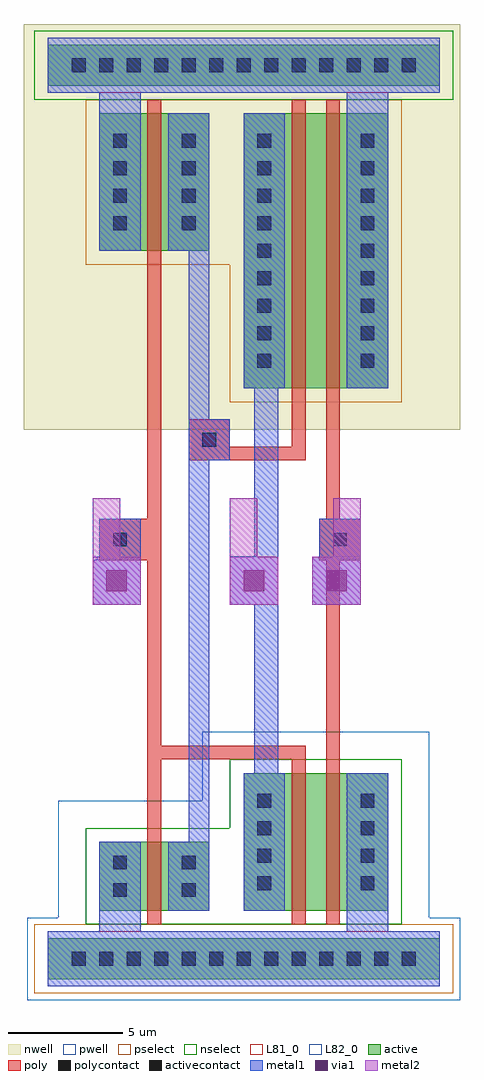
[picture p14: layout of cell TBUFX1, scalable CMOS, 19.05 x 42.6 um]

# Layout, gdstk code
import gdstk
lib = gdstk.Library(unit=1e-6, precision=1e-09)
def R(c, l, rs):  # rectangles x0, y0, x1, y1
    for r in rs: c.add(gdstk.rectangle(r[:2], r[2:], *l))
def A(c, l, x, y, w, h, nx, ny, dx, dy):  # array of equal rectangles
    R(c, l, [(x+i*dx, y+j*dy, x+i*dx+w, y+j*dy+h) for i in range(nx) for j in range(ny)])
pwell = (41, 0)
nwell = (42, 0)
active = (43, 0)
pselect = (44, 0)
nselect = (45, 0)
poly = (46, 0)
polycontact = (47, 0)
activecontact = (48, 0)
metal1 = (49, 0)
via1 = (50, 0)
metal2 = (51, 0)
L81_0 = (81, 0)
L82_0 = (82, 0)

tbufx1 = lib.new_cell('TBUFX1')
R(tbufx1, pwell, [(-1.95,-1.8,16.95,1.8), (-0.6,1.8,15.6,6.9), (5.7,6.9,15.6,9.9)])
R(tbufx1, nwell, [(-2.1,23.1,16.95,40.8)])
R(tbufx1, active, [(-1.05,-0.9,16.05,0.9), (1.2,2.1,6,5.1), (7.5,2.1,13.8,8.1), (7.5,24.9,13.8,36.9), (1.2,30.9,6,36.9), (-1.05,38.1,16.05,39.9)])
R(tbufx1, pselect, [(-1.65,-1.5,16.65,1.5), (6.9,24.3,14.4,30.3), (0.6,30.3,14.4,37.5)])
R(tbufx1, nselect, [(0.6,1.5,14.4,5.7), (6.9,5.7,14.4,8.7), (-1.65,37.5,16.65,40.5)])
R(tbufx1, poly, [(3.3,1.5,3.9,8.7), (9.6,1.5,10.2,8.7), (11.1,1.5,11.7,17.4), (3.3,8.7,10.2,9.3), (3.3,9.3,3.9,17.4), (1.2,17.4,3.9,19.2), (10.8,17.4,12.6,19.2), (3.3,19.2,3.9,37.5), (11.1,19.2,11.7,37.5), (5.1,21.75,10.2,22.35), (5.1,22.35,6.9,23.55), (9.6,22.35,10.2,37.5)])
R(tbufx1, polycontact, [(1.8,18,2.4,18.6), (11.4,18,12,18.6), (5.7,22.35,6.3,22.95)])
A(tbufx1, activecontact, 0, -0.3, 0.6, 0.6, 13, 2, 1.2, 39)
A(tbufx1, activecontact, 8.1, 3, 0.6, 0.6, 1, 4, 0, 1.2)
A(tbufx1, activecontact, 12.6, 3, 0.6, 0.6, 1, 4, 0, 1.2)
A(tbufx1, activecontact, 8.1, 25.8, 0.6, 0.6, 1, 9, 0, 1.2)
A(tbufx1, activecontact, 12.6, 25.8, 0.6, 0.6, 1, 9, 0, 1.2)
A(tbufx1, activecontact, 1.8, 31.8, 0.6, 0.6, 1, 4, 0, 1.2)
A(tbufx1, activecontact, 4.8, 31.8, 0.6, 0.6, 1, 4, 0, 1.2)
R(tbufx1, activecontact, [(1.8,2.7,2.4,3.3), (4.8,2.7,5.4,3.3), (1.8,3.9,2.4,4.5), (4.8,3.9,5.4,4.5)])
R(tbufx1, metal1, [(-1.05,-1.2,16.05,1.2), (1.2,1.2,3,5.1), (12,1.2,13.8,8.1), (4.2,2.1,6,5.1), (7.5,2.1,9.3,8.1), (5.1,5.1,6,21.75), (7.95,8.1,9,15.45), (0.9,15.45,3,17.55), (6.9,15.45,9,17.55), (10.5,15.45,12.6,17.55), (1.2,17.55,3,19.2), (7.95,17.55,9,24.9), (10.8,17.55,12.6,19.2), (5.1,21.75,6.9,23.55), (5.1,23.55,6,30.9), (7.5,24.9,9.3,36.9), (12,24.9,13.8,37.8), (1.2,30.9,3,37.8), (4.2,30.9,6,36.9), (-1.05,37.8,16.05,40.2)])
R(tbufx1, via1, [(1.5,16.05,2.4,16.95), (7.5,16.05,8.4,16.95), (11.1,16.05,12,16.95)])
R(tbufx1, metal2, [(0.9,15.45,3,17.55), (6.9,15.45,9,17.55), (10.5,15.45,12.6,17.55), (0.9,17.55,2.1,20.1), (6.9,17.55,8.1,20.1), (11.4,17.55,12.6,20.1)])
R(tbufx1, L81_0, [(-1.05,-1.2,16.05,1.2), (-1.05,37.8,16.05,40.2)])
R(tbufx1, L82_0, [(0.9,17.4,2.1,20.1), (6.9,17.55,8.1,20.1), (11.4,17.55,12.6,20.1)])

lib.write_gds('TBUFX1.gds')
